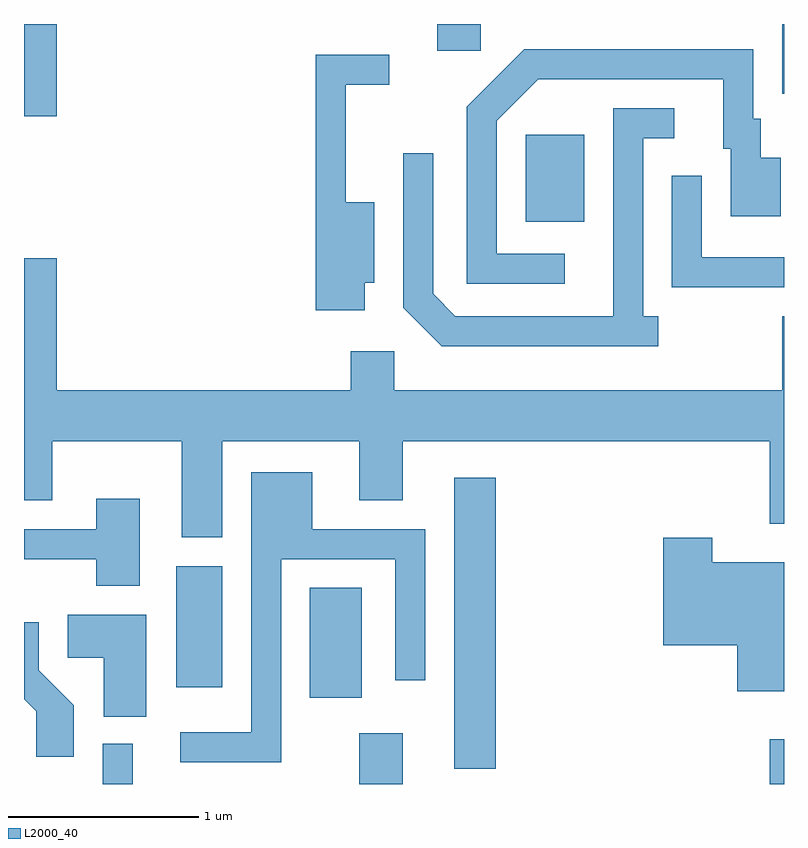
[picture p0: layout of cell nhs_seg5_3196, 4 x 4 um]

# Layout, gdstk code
import gdstk
lib = gdstk.Library(unit=1e-6, precision=1e-09)
def R(c, l, rs):  # rectangles x0, y0, x1, y1
    for r in rs: c.add(gdstk.rectangle(r[:2], r[2:], *l))
def P(c, l, *ps):  # polygons
    for p in ps: c.add(gdstk.Polygon(p, *l))
L2000_40 = (2000, 40)

nhs_seg5_3196 = lib.new_cell('nhs_seg5_3196')
R(nhs_seg5_3196, L2000_40, [(280.026,1486.072,280.184,1486.283), (281.376,1486.072,281.604,1486.339), (283.536,1486.072,283.611,1486.308), (281.876,1486.151,282.094,1487.684), (281.116,1486.526,281.389,1487.104), (280.411,1486.581,280.654,1487.219), (282.251,1489.031,282.559,1489.489), (279.611,1489.586,279.784,1490.072), (283.601,1489.706,283.611,1490.072), (281.786,1489.931,282.014,1490.072)])
P(nhs_seg5_3196, L2000_40, [(282.458,1488.864),(282.099,1488.864),(282.099,1489.564),(282.317,1489.781),(283.291,1489.781),(283.291,1489.416),(283.331,1489.416),(283.331,1489.061),(283.594,1489.061),(283.594,1489.369),(283.489,1489.369),(283.489,1489.574),(283.449,1489.574),(283.449,1489.939),(282.244,1489.939),(281.941,1489.637),(281.941,1488.706),(282.458,1488.706)],
  [(281.404,1488.711),(281.454,1488.711),(281.454,1489.134),(281.304,1489.134),(281.304,1489.751),(281.533,1489.751),(281.533,1489.909),(281.146,1489.909),(281.146,1488.566),(281.404,1488.566)],
  [(282.948,1488.534),(282.869,1488.534),(282.869,1489.471),(283.033,1489.471),(283.033,1489.629),(282.711,1489.629),(282.711,1488.534),(281.882,1488.534),(281.764,1488.652),(281.764,1489.393),(281.606,1489.393),(281.606,1488.579),(281.809,1488.376),(282.948,1488.376)],
  [(283.611,1488.844),(283.179,1488.844),(283.179,1489.273),(283.021,1489.273),(283.021,1488.686),(283.611,1488.686)],
  [(280.654,1487.876),(281.376,1487.876),(281.376,1487.566),(281.604,1487.566),(281.604,1487.876),(283.536,1487.876),(283.536,1487.443),(283.611,1487.443),(283.611,1488.534),(283.601,1488.534),(283.601,1488.144),(281.559,1488.144),(281.559,1488.349),(281.331,1488.349),(281.331,1488.144),(279.784,1488.144),(279.784,1488.839),(279.611,1488.839),(279.611,1487.566),(279.759,1487.566),(279.759,1487.876),(280.441,1487.876),(280.441,1487.371),(280.654,1487.371)],
  [(280.964,1487.256),(281.566,1487.256),(281.566,1486.618),(281.724,1486.618),(281.724,1487.414),(281.129,1487.414),(281.129,1487.714),(280.806,1487.714),(280.806,1486.344),(280.433,1486.344),(280.433,1486.186),(280.964,1486.186)],
  [(280.219,1487.574),(279.991,1487.574),(279.991,1487.414),(279.611,1487.414),(279.611,1487.256),(279.991,1487.256),(279.991,1487.116),(280.219,1487.116)],
  [(283.611,1487.239),(283.234,1487.239),(283.234,1487.369),(282.976,1487.369),(282.976,1486.801),(283.366,1486.801),(283.366,1486.561),(283.611,1486.561)],
  [(280.254,1486.964),(279.841,1486.964),(279.841,1486.736),(280.031,1486.736),(280.031,1486.426),(280.254,1486.426)],
  [(279.874,1486.487),(279.689,1486.672),(279.689,1486.924),(279.611,1486.924),(279.611,1486.519),(279.676,1486.454),(279.676,1486.216),(279.874,1486.216)])

lib.write_gds('nhs_seg5_3196.gds')
